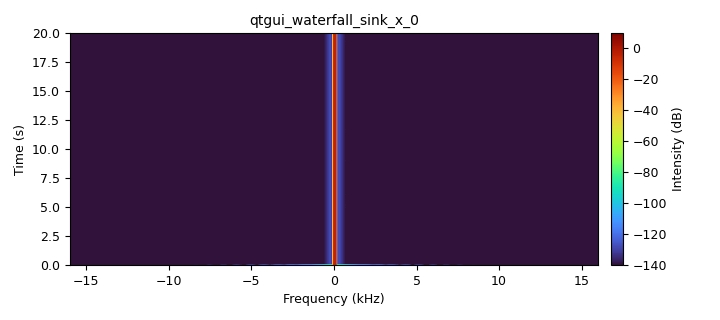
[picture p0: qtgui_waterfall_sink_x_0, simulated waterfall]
options:
  parameters:
    generate_options: qt_gui
    id: GrcFile
    output_language: python
    title: MyFirstGrcFile
  states: {}

blocks:
- name: samp_rate
  id: variable
  parameters:
    value: '32000'
  states: {}
- name: variable_qtgui_range_0
  id: variable_qtgui_range
  parameters:
    start: '0'
    step: '1'
    stop: '100'
    value: '50'
  states: {}
- name: analog_sig_source_x_0
  id: analog_sig_source_x
  parameters:
    amp: '0.5'
    freq: '100.1e6 '
    offset: '0'
    phase: '0'
    samp_rate: samp_rate
    type: complex
    waveform: analog.GR_SIN_WAVE
  states: {}
- name: analog_wfm_rcv_0
  id: analog_wfm_rcv
  parameters:
    audio_decimation: '8'
    quad_rate: 1e6
  states: {}
- name: audio_sink_0
  id: audio_sink
  parameters:
    samp_rate: '44100'
  states: {}
- name: blocks_float_to_complex_0
  id: blocks_float_to_complex
  parameters: {}
  states: {}
- name: qtgui_number_sink_0
  id: qtgui_number_sink
  parameters:
    graph_type: qtgui.NUM_GRAPH_HORIZ
    type: float
  states: {}
- name: qtgui_waterfall_sink_x_0
  id: qtgui_waterfall_sink_x
  parameters:
    bw: samp_rate
    fc: '0'
    fftsize: '1024'
    type: complex
  states: {}

connections:
- [analog_sig_source_x_0, '0', analog_wfm_rcv_0, '0']
- [analog_wfm_rcv_0, '0', audio_sink_0, '0']
- [analog_wfm_rcv_0, '0', blocks_float_to_complex_0, '0']
- [analog_wfm_rcv_0, '0', qtgui_number_sink_0, '0']
- [blocks_float_to_complex_0, '0', qtgui_waterfall_sink_x_0, '0']

metadata:
  file_format: 1
  grc_version: 3.10.8.0
